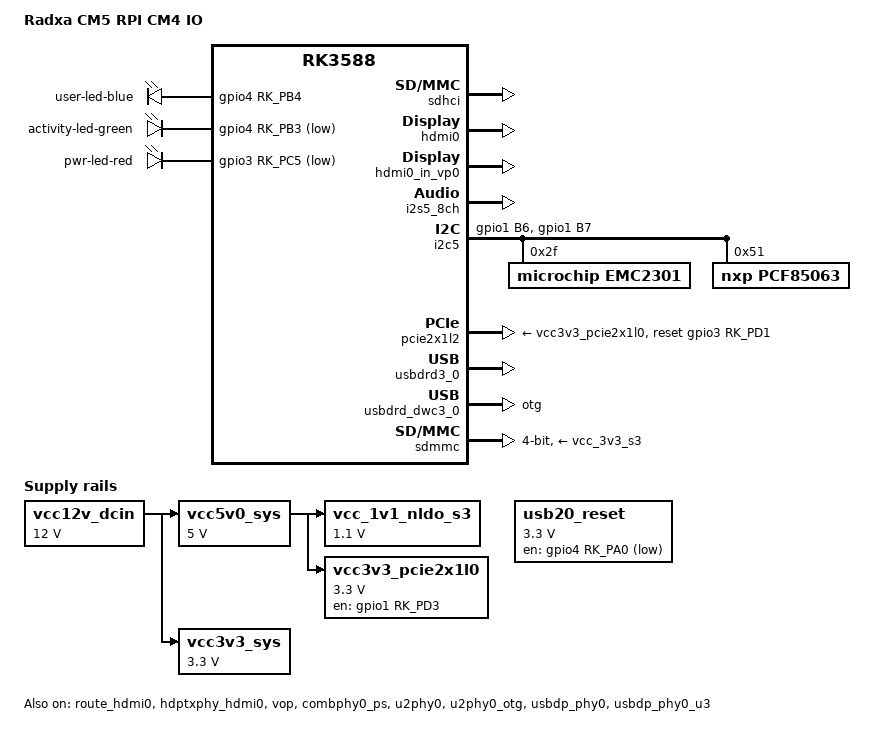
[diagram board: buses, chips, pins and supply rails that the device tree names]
// SPDX-License-Identifier: (GPL-2.0+ OR MIT)
/*
 * Copyright (c) 2023 Rockchip Electronics Co., Ltd.
 * Copyright (c) 2023 Radxa Limited
 *
 */

/dts-v1/;

#include "rk3588s-radxa-cm5.dtsi"

/ {
	model = "Radxa CM5 RPI CM4 IO";
	compatible = "radxa,cm5-rpi-cm4-io", "rockchip,rk3588";

	/delete-node/ chosen;

	vcc12v_dcin: vcc12v-dcin {
		compatible = "regulator-fixed";
		regulator-name = "vcc12v_dcin";
		regulator-always-on;
		regulator-boot-on;
		regulator-min-microvolt = <12000000>;
		regulator-max-microvolt = <12000000>;
	};

	vcc5v0_sys: vcc5v0-sys {
		compatible = "regulator-fixed";
		regulator-name = "vcc5v0_sys";
		regulator-always-on;
		regulator-boot-on;
		regulator-min-microvolt = <5000000>;
		regulator-max-microvolt = <5000000>;
		vin-supply = <&vcc12v_dcin>;
	};

	vcc_1v1_nldo_s3: vcc-1v1-nldo-s3 {
		compatible = "regulator-fixed";
		regulator-name = "vcc_1v1_nldo_s3";
		regulator-always-on;
		regulator-boot-on;
		regulator-min-microvolt = <1100000>;
		regulator-max-microvolt = <1100000>;
		vin-supply = <&vcc5v0_sys>;
	};

	usb20_reset: usb-up-regulator {
		compatible = "regulator-fixed";
		enable-active-low;
		gpio = <&gpio4 RK_PA0 GPIO_ACTIVE_HIGH>;
		pinctrl-names = "default";
		pinctrl-0 = <&usb20_reset_pin>;
		regulator-name = "usb20_reset";
		regulator-min-microvolt = <3300000>;
		regulator-max-microvolt = <3300000>;
	};

	hdmi0_sound: hdmi0-sound {
		status = "okay";
		compatible = "rockchip,hdmi";
		rockchip,mclk-fs = <128>;
		rockchip,card-name = "rockchip-hdmi0";
		rockchip,cpu = <&i2s5_8ch>;
		rockchip,codec = <&hdmi0>;
		rockchip,jack-det;
	};

	vcc3v3_sys: vcc3v3-sys {
		compatible = "regulator-fixed";
		regulator-name = "vcc3v3_sys";
		regulator-always-on;
		regulator-boot-on;
		regulator-min-microvolt = <3300000>;
		regulator-max-microvolt = <3300000>;
		vin-supply = <&vcc12v_dcin>;
	};

	vcc3v3_pcie2x1l0: vcc3v3-pcie2x1l0 {
		compatible = "regulator-fixed";
		regulator-name = "vcc3v3_pcie2x1l0";
		regulator-min-microvolt = <3300000>;
		regulator-max-microvolt = <3300000>;
		enable-active-high;
		regulator-boot-on;
		regulator-always-on;
		gpios = <&gpio1 RK_PD3 GPIO_ACTIVE_HIGH>;
		startup-delay-us = <50000>;
		vin-supply = <&vcc5v0_sys>;
	};

	gpio-leds {
		compatible = "gpio-leds";
		pinctrl-names = "default";

		user-led-blue {
			gpios = <&gpio4 RK_PB4 GPIO_ACTIVE_HIGH>;
			linux,default-trigger = "heartbeat";
			default-state = "on";
		};

		activity-led-green {
			gpios = <&gpio4 RK_PB3 GPIO_ACTIVE_LOW>;
			linux,default-trigger = "heartbeat";
			default-state = "on";
		};

		pwr-led-red {
			gpios = <&gpio3 RK_PC5 GPIO_ACTIVE_LOW>;
			linux,default-trigger = "none";
			default-state = "on";
		};
	};
};

&sdhci {
	status = "okay";
};

&hdmi0 {
	status = "okay";
};

&hdmi0_in_vp0 {
	status = "okay";
};

&route_hdmi0 {
	status = "okay";
};

&hdptxphy_hdmi0 {
	status = "okay";
};

&i2s5_8ch {
	status = "okay";
};

&vop {
	status = "okay";
};

&vop_mmu {
	status = "okay";
};

&vp0 {
	rockchip,plane-mask = <(1 << ROCKCHIP_VOP2_CLUSTER0 | 1 << ROCKCHIP_VOP2_ESMART0)>;
	rockchip,primary-plane = <ROCKCHIP_VOP2_CLUSTER0>;
	cursor-win-id = <ROCKCHIP_VOP2_ESMART0>;
};

&vp1 {
	rockchip,plane-mask = <(1 << ROCKCHIP_VOP2_CLUSTER1 | 1 << ROCKCHIP_VOP2_ESMART1)>;
	rockchip,primary-plane = <ROCKCHIP_VOP2_CLUSTER1>;
	cursor-win-id = <ROCKCHIP_VOP2_ESMART1>;
};

&vp2 {
	rockchip,plane-mask = <(1 << ROCKCHIP_VOP2_CLUSTER2 | 1 << ROCKCHIP_VOP2_ESMART2)>;
	rockchip,primary-plane = <ROCKCHIP_VOP2_CLUSTER2>;
	cursor-win-id = <ROCKCHIP_VOP2_ESMART2>;
};

&vp3 {
	rockchip,plane-mask = <(1 << ROCKCHIP_VOP2_CLUSTER3 | 1 << ROCKCHIP_VOP2_ESMART3)>;
	rockchip,primary-plane = <ROCKCHIP_VOP2_CLUSTER3>;
	cursor-win-id = <ROCKCHIP_VOP2_ESMART3>;
};

&display_subsystem {
	clocks = <&hdptxphy_hdmi_clk0>;
	clock-names = "hdmi0_phy_pll";
};

&hdptxphy_hdmi_clk0 {
	status = "okay";
};

&i2c5 {
	status = "okay";
	pinctrl-names = "default";
	pinctrl-0 = <&i2c5m3_xfer>;

	emc2301: emc2301@2f {
		status = "okay";
		compatible = "microchip,emc2301";
		reg = <0x2f>;
		#address-cells = <1>;
		#size-cells = <0>;
		#cooling-cells = <2>;
		microchip,pwm-separate;
		microchip,cooling-levels = <10>;
		channel@0 {
			reg = <0>;
			pwm-min = <0>;
		};
	};

	pcf85063: pcf85063@51 {
		compatible = "nxp,pcf85063";
		status = "okay";
		reg = <0x51>;
		quartz-load-femtofarads = <12500>;
	};
};

&threshold {
	temperature = <60000>;
};

&soc_thermal {
	cooling-maps {
		sustainable-power = <5000>; /* milliwatts */
		map3 {
			trip = <&target>;
			cooling-device =
				<&emc2301 THERMAL_NO_LIMIT THERMAL_NO_LIMIT>;
			contribution = <8192>;
		};
		map4 {
			trip = <&threshold>;
			cooling-device =
				<&emc2301 THERMAL_NO_LIMIT THERMAL_NO_LIMIT>;
			contribution = <8192>;
		};
	};
};

&pinctrl {

	usb {
		usb20_reset_pin: usb20-reset {
			rockchip,pins = <4 RK_PA0 RK_FUNC_GPIO &pcfg_pull_up>;
		};
	};

	i2c5 {
		i2c5m3_xfer: i2c5m3-xfer {
			rockchip,pins =
				/* i2c5_scl_m3 */
				<1 RK_PB6 9 &pcfg_pull_up>,
				/* i2c5_sda_m3 */
				<1 RK_PB7 9 &pcfg_pull_up>;
		};
	};
};

&pcie2x1l2 {
	reset-gpios = <&gpio3 RK_PD1 GPIO_ACTIVE_HIGH>;
	vpcie3v3-supply = <&vcc3v3_pcie2x1l0>;
	status = "okay";
};

&combphy0_ps {
	status = "okay";
};

&u2phy0 {
	status = "okay";
};

&u2phy0_otg {
	status = "okay";
};

&usbdp_phy0 {
	status = "okay";
};

&usbdp_phy0_u3 {
	status = "okay";
};

&usbdrd3_0 {
	status = "okay";
};

&usbdrd_dwc3_0 {
	dr_mode = "otg";
	extcon = <&u2phy0>;
	status = "okay";
};

&sdmmc {
	max-frequency = <200000000>;
	supports-sd;
	bus-width = <4>;
	cap-mmc-highspeed;
	cap-sd-highspeed;
	disable-wp;
	sd-uhs-sdr104;
	vmmc-supply = <&vcc_3v3_s3>;
	vqmmc-supply = <&vccio_sd_s0>;
	pinctrl-names = "default";
	pinctrl-0 = <&sdmmc_bus4 &sdmmc_clk &sdmmc_cmd>;
	status = "okay";
};


